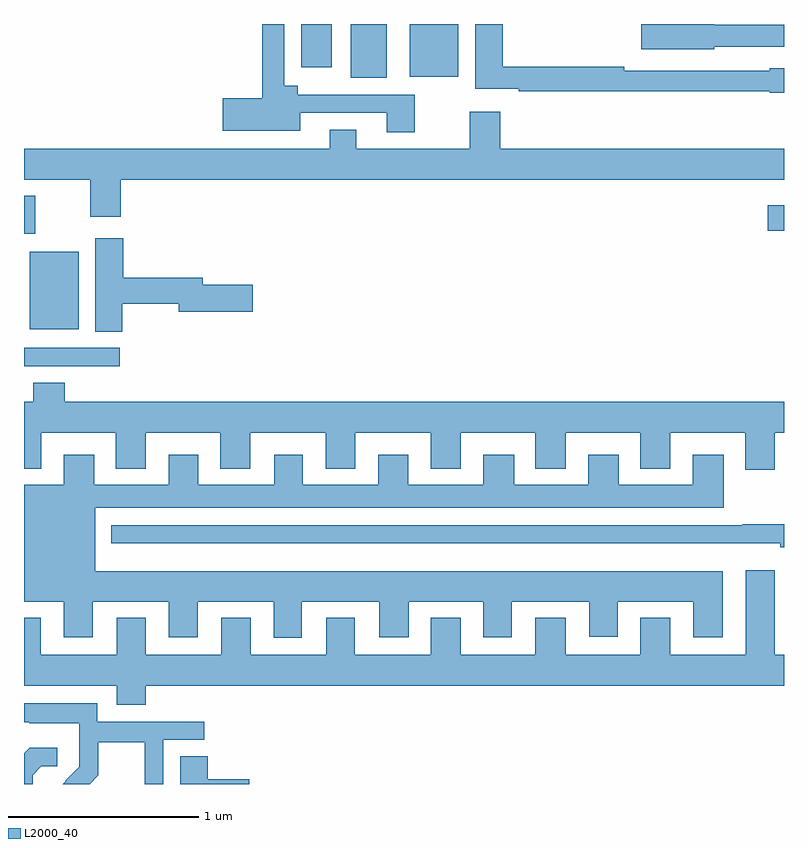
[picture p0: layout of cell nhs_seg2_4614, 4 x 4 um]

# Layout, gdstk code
import gdstk
lib = gdstk.Library(unit=1e-6, precision=1e-09)
def R(c, l, rs):  # rectangles x0, y0, x1, y1
    for r in rs: c.add(gdstk.rectangle(r[:2], r[2:], *l))
def P(c, l, *ps):  # polygons
    for p in ps: c.add(gdstk.Polygon(p, *l))
L2000_40 = (2000, 40)

nhs_seg2_4614 = lib.new_cell('nhs_seg2_4614')
R(nhs_seg2_4614, L2000_40, [(361,636,361.504,636.096), (361.031,636.194,361.288,636.601), (361,636.696,361.059,636.895), (364.914,636.713,365,636.847), (362.72,637.517,362.908,637.8), (363.029,637.523,363.286,637.8), (362.459,637.572,362.62,637.8)])
P(nhs_seg2_4614, L2000_40, [(364.632,637.68),(365,637.68),(365,637.796),(364.632,637.796),(364.632,637.8),(364.248,637.8),(364.248,637.667),(364.632,637.667)],
  [(363.057,637.428),(362.44,637.428),(362.44,637.474),(362.37,637.474),(362.37,637.8),(362.254,637.8),(362.254,637.409),(362.046,637.409),(362.046,637.238),(362.455,637.238),(362.455,637.332),(362.909,637.332),(362.909,637.23),(363.057,637.23)],
  [(365,637.567),(364.926,637.567),(364.926,637.554),(364.16,637.554),(364.16,637.574),(363.521,637.574),(363.521,637.8),(363.374,637.8),(363.374,637.458),(363.604,637.458),(363.604,637.446),(364.926,637.446),(364.926,637.438),(365,637.438)],
  [(361.508,636.98),(365,636.98),(365,637.144),(363.506,637.144),(363.506,637.339),(363.346,637.339),(363.346,637.144),(362.749,637.144),(362.749,637.243),(362.609,637.243),(362.609,637.144),(361,637.144),(361,636.98),(361.348,636.98),(361.348,636.786),(361.508,636.786)],
  [(361.518,636.328),(361.814,636.328),(361.814,636.286),(362.203,636.286),(362.203,636.428),(361.942,636.428),(361.942,636.464),(361.523,636.464),(361.523,636.673),(361.376,636.673),(361.376,636.181),(361.518,636.181)],
  [(364.951,635.648),(365,635.648),(365,635.812),(361.214,635.812),(361.214,635.911),(361.049,635.911),(361.049,635.812),(361,635.812),(361,635.459),(361.09,635.459),(361.09,635.648),(361.484,635.648),(361.484,635.459),(361.642,635.459),(361.642,635.648),(362.033,635.648),(362.033,635.459),(362.191,635.459),(362.191,635.648),(362.588,635.648),(362.588,635.459),(362.743,635.459),(362.743,635.648),(363.14,635.648),(363.14,635.459),(363.298,635.459),(363.298,635.648),(363.692,635.648),(363.692,635.459),(363.85,635.459),(363.85,635.648),(364.244,635.648),(364.244,635.459),(364.402,635.459),(364.402,635.648),(364.796,635.648),(364.796,635.454),(364.951,635.454)],
  [(362.461,634.76),(362.87,634.76),(362.87,634.572),(363.025,634.572),(363.025,634.76),(363.416,634.76),(363.416,634.572),(363.568,634.572),(363.568,634.76),(363.974,634.76),(363.974,634.575),(364.126,634.575),(364.126,634.76),(364.523,634.76),(364.523,634.572),(364.678,634.572),(364.678,634.921),(361.375,634.921),(361.375,635.255),(364.684,635.255),(364.684,635.533),(364.52,635.533),(364.52,635.374),(364.129,635.374),(364.129,635.533),(363.971,635.533),(363.971,635.374),(363.58,635.374),(363.58,635.533),(363.416,635.533),(363.416,635.374),(363.022,635.374),(363.022,635.533),(362.864,635.533),(362.864,635.374),(362.467,635.374),(362.467,635.533),(362.318,635.533),(362.318,635.374),(361.918,635.374),(361.918,635.533),(361.763,635.533),(361.763,635.374),(361.369,635.374),(361.369,635.533),(361.208,635.533),(361.208,635.374),(361,635.374),(361,634.76),(361.208,634.76),(361.208,634.572),(361.363,634.572),(361.363,634.76),(361.763,634.76),(361.763,634.572),(361.915,634.572),(361.915,634.76),(362.315,634.76),(362.315,634.569),(362.461,634.569)],
  [(365,635.168),(364.78,635.168),(364.78,635.163),(361.46,635.163),(361.46,635.066),(364.979,635.066),(364.979,635.047),(365,635.047)],
  [(361.64,634.316),(365,634.316),(365,634.48),(364.951,634.48),(364.951,634.924),(364.799,634.924),(364.799,634.48),(364.402,634.48),(364.402,634.675),(364.244,634.675),(364.244,634.48),(363.85,634.48),(363.85,634.675),(363.692,634.675),(363.692,634.48),(363.298,634.48),(363.298,634.675),(363.14,634.675),(363.14,634.48),(362.74,634.48),(362.74,634.675),(362.591,634.675),(362.591,634.48),(362.194,634.48),(362.194,634.675),(362.039,634.675),(362.039,634.48),(361.642,634.48),(361.642,634.675),(361.487,634.675),(361.487,634.48),(361.087,634.48),(361.087,634.675),(361,634.675),(361,634.316),(361.487,634.316),(361.487,634.217),(361.64,634.217)],
  [(361.391,633.845),(361.391,634.02),(361.636,634.02),(361.636,633.8),(361.734,633.8),(361.734,634.032),(361.948,634.032),(361.948,634.128),(361.386,634.128),(361.386,634.225),(361,634.225),(361,634.125),(361.027,634.125),(361.027,634.121),(361.29,634.121),(361.29,633.987),(361.292,633.987),(361.292,633.89),(361.218,633.816),(361.219,633.815),(361.204,633.8),(361.346,633.8)],
  [(361.045,633.847),(361.092,633.894),(361.174,633.894),(361.174,633.991),(361.03,633.991),(361,633.961),(361,633.8),(361.045,633.8)],
  [(362.185,633.824),(361.967,633.824),(361.967,633.947),(361.823,633.947),(361.823,633.8),(362.185,633.8)])

lib.write_gds('nhs_seg2_4614.gds')
